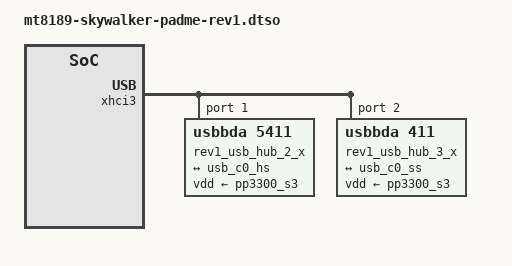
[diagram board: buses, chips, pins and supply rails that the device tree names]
// SPDX-License-Identifier: (GPL-2.0 OR MIT)
/*
 * Copyright (C) 2025 Google Inc.
 */
/dts-v1/;
/plugin/;

&xhci3 {
	/* 2.x hub on port 1 */
	rev1_usb_hub_2_x: hub@1 {
		compatible = "usbbda,5411";
		reg = <1>;
		vdd-supply = <&pp3300_s3>;
		peer-hub = <&rev1_usb_hub_3_x>;

		ports {
			#address-cells = <1>;
			#size-cells = <0>;

			port@4 {
				reg = <4>;

				rev1_usb_hub_dsp4_hs: endpoint {
					remote-endpoint = <&usb_c0_hs>;
				};
			};
		};
	};

	/* 3.x hub on port 2 */
	rev1_usb_hub_3_x: hub@2 {
		compatible = "usbbda,411";
		reg = <2>;
		vdd-supply = <&pp3300_s3>;
		peer-hub = <&rev1_usb_hub_2_x>;

		ports {
			#address-cells = <1>;
			#size-cells = <0>;

			port@1 {
				reg = <1>;

				rev1_usb_hub_dsp1_ss: endpoint {
					remote-endpoint = <&usb_c0_ss>;
				};
			};
		};
	};
};

/* USB hub port 1 */
&usb_c0_ss {
	remote-endpoint = <&rev1_usb_hub_dsp1_ss>;
};

/* USB hub port 4 */
&usb_c0_hs {
	remote-endpoint = <&rev1_usb_hub_dsp4_hs>;
};
